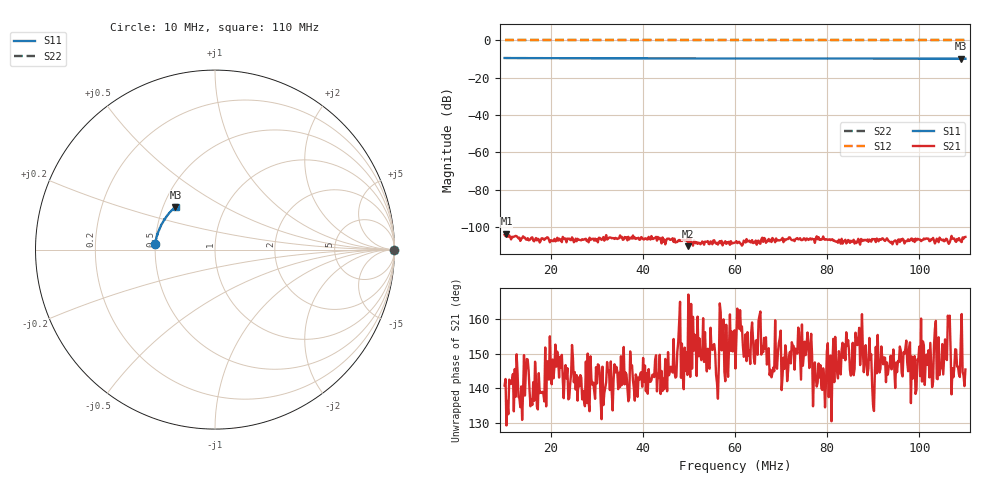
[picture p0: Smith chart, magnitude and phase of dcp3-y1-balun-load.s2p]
! Anritsu VNA Master:  Model: MS2034B/10/19/501
! SN:  1337062
! /bd0/ovro-jan-2016/dcp3-y1-balun-load.s2p
! Existing Calibration Information:
! TYPE:  Current Settings,  Active Cal Settings
! TIME:  01/14/2016 12:12:35 PM,  01/14/2016 12:01:10 PM
! INTERNAL TEMP:  44.3 C,  43.8 C
! # POINTS:  500,  500
! START FREQ:  10.000 MHz,  10.000 MHz
! STOP FREQ:  110.000 MHz,  110.000 MHz
! SOURCE POWER:  High,  High
! IFBW:  100 Hz,  100 Hz
! AVG FACTOR:  4 ,  4
! REF PLANE 1:  0 mm,  0 mm
! REF PLANE 2:  0 mm,  0 mm
! CAL TYPE:  Full S11,  Full S11
! CAL METHOD:  SOLT,  SOLT
! CAL LINE TYPE:  Coax,  Coax
! DUT PORT 1:  K-Conn(M),  K-Conn(M)
! DUT PORT 2:  N-Conn(M),  N-Conn(M)
! CAL STATUS:  OK: Accuracy High,  --
# GHZ S DB R 50.0
! FREQ.GHZ  S11DB  S11A  S21DB  S21A  S12DB  S12A  S22DB  S22A
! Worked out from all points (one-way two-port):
!   500 points, 10 MHz to 110 MHz, reference 50 ohm
!   highest |S21| = -103.66 dB at 10.4 MHz (marker M1); lowest = -110.4 dB at 49.88 MHz (marker M2)
!   lowest |S11| = -9.8 dB at 109 MHz (marker M3), VSWR 1.96, Z = 29 + j15.4 ohm
!   |S11| at or under -10 dB: nowhere
!   |S22| runs from 0.0 to 0.0 dB; largest |S21 - S12| = 1
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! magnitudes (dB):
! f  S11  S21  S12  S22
! 10 MHz  -9.4  -104.3  0.0  0.0
! 10.4 MHz  -9.4  -103.7  0.0  0.0
! 11.4 MHz  -9.5  -106.8  0.0  0.0
! 17.41 MHz  -9.5  -106.8  0.0  0.0
! 22.42 MHz  -9.6  -108.3  0.0  0.0
! 26.83 MHz  -9.5  -106.7  0.0  0.0
! 31.24 MHz  -9.6  -106.5  0.0  0.0
! 34.05 MHz  -9.6  -106.0  0.0  0.0
! 39.86 MHz  -9.6  -105.9  0.0  0.0
! 43.47 MHz  -9.6  -106.6  0.0  0.0
! 49.88 MHz  -9.6  -110.4  0.0  0.0
! 55.29 MHz  -9.6  -107.4  0.0  0.0
! 60.1 MHz  -9.7  -108.3  0.0  0.0
! 67.31 MHz  -9.7  -106.5  0.0  0.0
! 68.32 MHz  -9.7  -106.7  0.0  0.0
! 69.32 MHz  -9.7  -107.1  0.0  0.0
! 76.73 MHz  -9.7  -106.4  0.0  0.0
! 81.54 MHz  -9.7  -107.4  0.0  0.0
! 88.16 MHz  -9.7  -107.0  0.0  0.0
! 93.37 MHz  -9.7  -107.7  0.0  0.0
! 109 MHz  -9.8  -107.8  0.0  0.0
! 110 MHz  -9.8  -105.5  0.0  0.0
